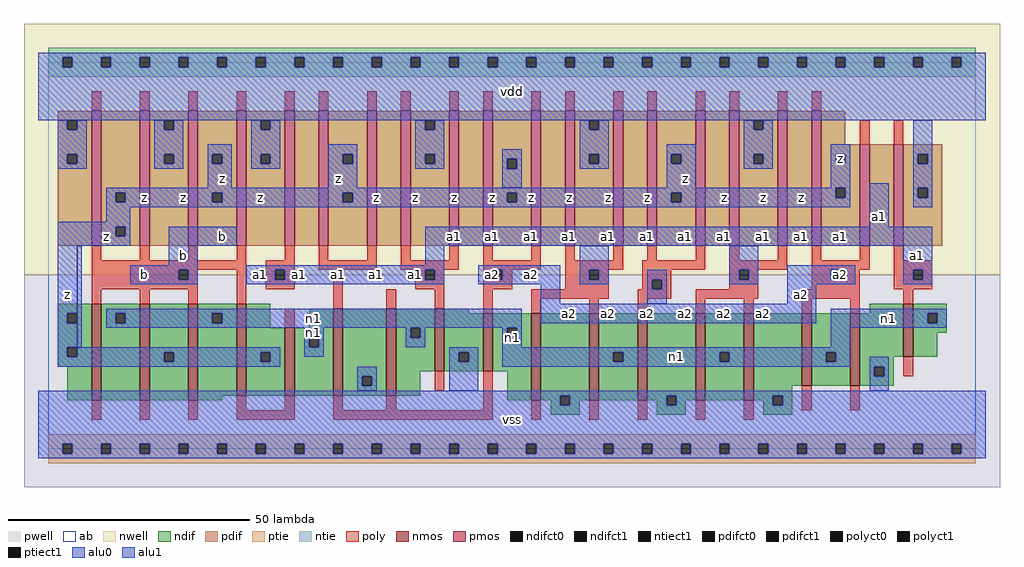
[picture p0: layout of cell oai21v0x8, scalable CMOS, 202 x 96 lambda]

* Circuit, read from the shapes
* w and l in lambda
.subckt oai21v0x8 a1 a2 b n1 vdd vss z
M1 n1 b z vss nfet w=20 l=2 m=3
M2 z b n1 vss nfet w=19 l=2
M3 n1 b z vss nfet w=14 l=2
M4 vss a2 n1 vss nfet w=18 l=2 m=3
M5 vss a1 n1 vss nfet w=13 l=2
M6 n1 a2 vss vss nfet w=12 l=2
M7 vss a1 n1 vss nfet w=18 l=2 m=4
M8 n1 a2 vss vss nfet w=15 l=2 m=2
M9 n1 a1 vss vss nfet w=11 l=2
M10 z b vdd vdd pfet w=28 l=2 m=4
M11 n2 a1 vdd vdd pfet w=28 l=2
M12 z a2 n2 vdd pfet w=28 l=2
M13 n3 a2 z vdd pfet w=28 l=2
M14 vdd a1 n3 vdd pfet w=28 l=2
M15 n4 a1 vdd vdd pfet w=28 l=2
M16 z a2 n4 vdd pfet w=28 l=2
M17 n5 a2 z vdd pfet w=28 l=2
M18 vdd a1 n5 vdd pfet w=28 l=2
M19 n6 a1 vdd vdd pfet w=28 l=2
M20 z a2 n6 vdd pfet w=28 l=2
M21 n7 a2 z vdd pfet w=28 l=2
M22 vdd a1 n7 vdd pfet w=28 l=2
M23 n8 a1 vdd vdd pfet w=28 l=2
M24 z a2 n8 vdd pfet w=28 l=2
M25 n9 a2 z vdd pfet w=21 l=2
M26 vdd a1 n9 vdd pfet w=21 l=2
.ends

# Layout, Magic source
magic
tech scmos
<< ab >>
rect 0 0 192 80
<< nwell >>
rect -5 36 197 88
<< pwell >>
rect -5 -8 197 36
<< poly >>
rect 9 70 11 74
rect 19 70 21 74
rect 29 70 31 74
rect 39 70 41 74
rect 49 70 51 74
rect 56 70 58 74
rect 66 70 68 74
rect 73 70 75 74
rect 83 70 85 74
rect 90 70 92 74
rect 100 70 102 74
rect 107 70 109 74
rect 117 70 119 74
rect 124 70 126 74
rect 134 70 136 74
rect 141 70 143 74
rect 151 70 153 74
rect 158 70 160 74
rect 168 63 170 68
rect 175 63 177 68
rect 9 39 11 42
rect 19 39 21 42
rect 29 39 31 42
rect 39 39 41 42
rect 49 39 51 42
rect 9 37 41 39
rect 9 35 27 37
rect 29 35 31 37
rect 9 33 31 35
rect 9 30 11 33
rect 19 30 21 33
rect 29 30 31 33
rect 39 30 41 37
rect 45 37 51 39
rect 56 39 58 42
rect 66 39 68 42
rect 56 37 68 39
rect 73 39 75 42
rect 83 39 85 42
rect 73 37 85 39
rect 90 39 92 42
rect 100 39 102 42
rect 90 37 102 39
rect 107 39 109 42
rect 117 39 119 42
rect 124 39 126 42
rect 134 39 136 42
rect 107 37 119 39
rect 123 37 136 39
rect 141 39 143 42
rect 151 39 153 42
rect 141 37 153 39
rect 158 39 160 42
rect 168 39 170 42
rect 158 37 170 39
rect 175 39 177 42
rect 175 37 183 39
rect 45 35 47 37
rect 49 35 51 37
rect 45 33 51 35
rect 59 29 61 37
rect 76 35 78 37
rect 80 35 82 37
rect 76 33 82 35
rect 70 29 72 33
rect 80 29 82 33
rect 90 35 92 37
rect 94 35 96 37
rect 90 33 96 35
rect 107 35 112 37
rect 114 35 116 37
rect 107 33 116 35
rect 123 35 129 37
rect 123 33 125 35
rect 127 33 129 35
rect 141 35 143 37
rect 145 35 147 37
rect 141 33 147 35
rect 158 35 162 37
rect 164 35 168 37
rect 158 33 168 35
rect 175 35 179 37
rect 181 35 183 37
rect 175 33 183 35
rect 49 25 51 29
rect 90 28 92 33
rect 100 31 116 33
rect 122 31 129 33
rect 134 31 147 33
rect 156 31 168 33
rect 100 28 102 31
rect 112 28 114 31
rect 122 28 124 31
rect 134 28 136 31
rect 144 28 146 31
rect 156 28 158 31
rect 166 28 168 31
rect 177 30 179 33
rect 80 12 82 16
rect 9 6 11 10
rect 19 6 21 10
rect 29 6 31 10
rect 39 8 41 11
rect 49 8 51 11
rect 39 6 51 8
rect 59 8 61 11
rect 70 8 72 11
rect 90 8 92 16
rect 59 6 92 8
rect 100 6 102 10
rect 112 6 114 10
rect 122 6 124 10
rect 177 15 179 19
rect 134 6 136 10
rect 144 6 146 10
rect 156 8 158 13
rect 166 8 168 13
<< ndif >>
rect 2 28 9 30
rect 2 26 4 28
rect 6 26 9 28
rect 2 21 9 26
rect 2 19 4 21
rect 6 19 9 21
rect 2 17 9 19
rect 4 10 9 17
rect 11 28 19 30
rect 11 26 14 28
rect 16 26 19 28
rect 11 10 19 26
rect 21 20 29 30
rect 21 18 24 20
rect 26 18 29 20
rect 21 10 29 18
rect 31 28 39 30
rect 31 26 34 28
rect 36 26 39 28
rect 31 11 39 26
rect 41 25 46 30
rect 54 25 59 29
rect 41 20 49 25
rect 41 18 44 20
rect 46 18 49 20
rect 41 11 49 18
rect 51 23 59 25
rect 51 21 54 23
rect 56 21 59 23
rect 51 11 59 21
rect 61 15 70 29
rect 61 13 65 15
rect 67 13 70 15
rect 61 11 70 13
rect 72 25 80 29
rect 72 23 75 25
rect 77 23 80 25
rect 72 16 80 23
rect 82 28 87 29
rect 170 28 177 30
rect 82 20 90 28
rect 82 18 85 20
rect 87 18 90 20
rect 82 16 90 18
rect 92 25 100 28
rect 92 23 95 25
rect 97 23 100 25
rect 92 16 100 23
rect 72 11 77 16
rect 31 10 36 11
rect 95 10 100 16
rect 102 11 112 28
rect 102 10 106 11
rect 104 9 106 10
rect 108 10 112 11
rect 114 20 122 28
rect 114 18 117 20
rect 119 18 122 20
rect 114 10 122 18
rect 124 11 134 28
rect 124 10 128 11
rect 108 9 110 10
rect 104 7 110 9
rect 126 9 128 10
rect 130 10 134 11
rect 136 20 144 28
rect 136 18 139 20
rect 141 18 144 20
rect 136 10 144 18
rect 146 13 156 28
rect 158 20 166 28
rect 158 18 161 20
rect 163 18 166 20
rect 158 13 166 18
rect 168 19 177 28
rect 179 28 186 30
rect 179 26 182 28
rect 184 26 186 28
rect 179 24 186 26
rect 179 19 184 24
rect 168 17 175 19
rect 168 15 171 17
rect 173 15 175 17
rect 168 13 175 15
rect 146 11 154 13
rect 146 10 150 11
rect 130 9 132 10
rect 126 7 132 9
rect 148 9 150 10
rect 152 9 154 11
rect 148 7 154 9
<< pdif >>
rect 2 68 9 70
rect 2 66 4 68
rect 6 66 9 68
rect 2 61 9 66
rect 2 59 4 61
rect 6 59 9 61
rect 2 42 9 59
rect 11 53 19 70
rect 11 51 14 53
rect 16 51 19 53
rect 11 46 19 51
rect 11 44 14 46
rect 16 44 19 46
rect 11 42 19 44
rect 21 68 29 70
rect 21 66 24 68
rect 26 66 29 68
rect 21 61 29 66
rect 21 59 24 61
rect 26 59 29 61
rect 21 42 29 59
rect 31 61 39 70
rect 31 59 34 61
rect 36 59 39 61
rect 31 53 39 59
rect 31 51 34 53
rect 36 51 39 53
rect 31 42 39 51
rect 41 68 49 70
rect 41 66 44 68
rect 46 66 49 68
rect 41 61 49 66
rect 41 59 44 61
rect 46 59 49 61
rect 41 42 49 59
rect 51 42 56 70
rect 58 61 66 70
rect 58 59 61 61
rect 63 59 66 61
rect 58 53 66 59
rect 58 51 61 53
rect 63 51 66 53
rect 58 42 66 51
rect 68 42 73 70
rect 75 68 83 70
rect 75 66 78 68
rect 80 66 83 68
rect 75 61 83 66
rect 75 59 78 61
rect 80 59 83 61
rect 75 42 83 59
rect 85 42 90 70
rect 92 60 100 70
rect 92 58 95 60
rect 97 58 100 60
rect 92 53 100 58
rect 92 51 95 53
rect 97 51 100 53
rect 92 42 100 51
rect 102 42 107 70
rect 109 68 117 70
rect 109 66 112 68
rect 114 66 117 68
rect 109 61 117 66
rect 109 59 112 61
rect 114 59 117 61
rect 109 42 117 59
rect 119 42 124 70
rect 126 61 134 70
rect 126 59 129 61
rect 131 59 134 61
rect 126 53 134 59
rect 126 51 129 53
rect 131 51 134 53
rect 126 42 134 51
rect 136 42 141 70
rect 143 68 151 70
rect 143 66 146 68
rect 148 66 151 68
rect 143 61 151 66
rect 143 59 146 61
rect 148 59 151 61
rect 143 42 151 59
rect 153 42 158 70
rect 160 63 165 70
rect 160 61 168 63
rect 160 59 163 61
rect 165 59 168 61
rect 160 54 168 59
rect 160 52 163 54
rect 165 52 168 54
rect 160 42 168 52
rect 170 42 175 63
rect 177 61 185 63
rect 177 59 180 61
rect 182 59 185 61
rect 177 54 185 59
rect 177 52 180 54
rect 182 52 185 54
rect 177 42 185 52
<< alu1 >>
rect -2 81 194 82
rect -2 79 3 81
rect 5 79 11 81
rect 13 79 19 81
rect 21 79 27 81
rect 29 79 35 81
rect 37 79 43 81
rect 45 79 51 81
rect 53 79 59 81
rect 61 79 67 81
rect 69 79 75 81
rect 77 79 83 81
rect 85 79 91 81
rect 93 79 99 81
rect 101 79 107 81
rect 109 79 115 81
rect 117 79 123 81
rect 125 79 131 81
rect 133 79 139 81
rect 141 79 147 81
rect 149 79 155 81
rect 157 79 163 81
rect 165 79 171 81
rect 173 79 179 81
rect 181 79 187 81
rect 189 79 194 81
rect -2 68 194 79
rect 33 61 38 63
rect 33 59 34 61
rect 36 59 38 61
rect 33 54 38 59
rect 58 61 64 63
rect 58 59 61 61
rect 63 59 64 61
rect 58 54 64 59
rect 128 61 134 63
rect 128 59 129 61
rect 131 59 134 61
rect 128 54 134 59
rect 162 61 166 63
rect 162 59 163 61
rect 165 59 166 61
rect 162 54 166 59
rect 12 53 163 54
rect 12 51 14 53
rect 16 51 34 53
rect 36 51 61 53
rect 63 51 95 53
rect 97 51 129 53
rect 131 52 163 53
rect 165 52 166 54
rect 131 51 166 52
rect 12 50 166 51
rect 12 47 17 50
rect 2 46 17 47
rect 170 46 174 55
rect 2 44 14 46
rect 16 44 17 46
rect 2 42 17 44
rect 25 42 39 46
rect 78 42 183 46
rect 2 28 6 42
rect 2 26 4 28
rect 2 21 6 26
rect 25 38 31 42
rect 78 38 82 42
rect 17 37 31 38
rect 17 35 27 37
rect 29 35 31 37
rect 17 34 31 35
rect 41 37 82 38
rect 41 35 47 37
rect 49 35 78 37
rect 80 35 82 37
rect 41 34 82 35
rect 89 37 106 38
rect 89 35 92 37
rect 94 35 106 37
rect 89 34 106 35
rect 102 30 106 34
rect 153 37 167 38
rect 153 35 162 37
rect 164 35 167 37
rect 153 34 167 35
rect 177 37 183 42
rect 177 35 179 37
rect 181 35 183 37
rect 177 34 183 35
rect 153 30 159 34
rect 102 26 159 30
rect 2 19 4 21
rect 6 20 48 21
rect 6 19 24 20
rect 2 18 24 19
rect 26 18 44 20
rect 46 18 48 20
rect 2 17 48 18
rect -2 11 194 12
rect -2 9 106 11
rect 108 9 128 11
rect 130 9 150 11
rect 152 9 194 11
rect -2 1 194 9
rect -2 -1 3 1
rect 5 -1 11 1
rect 13 -1 19 1
rect 21 -1 27 1
rect 29 -1 35 1
rect 37 -1 43 1
rect 45 -1 51 1
rect 53 -1 59 1
rect 61 -1 67 1
rect 69 -1 75 1
rect 77 -1 83 1
rect 85 -1 91 1
rect 93 -1 99 1
rect 101 -1 107 1
rect 109 -1 115 1
rect 117 -1 123 1
rect 125 -1 131 1
rect 133 -1 139 1
rect 141 -1 147 1
rect 149 -1 155 1
rect 157 -1 163 1
rect 165 -1 171 1
rect 173 -1 179 1
rect 181 -1 187 1
rect 189 -1 194 1
rect -2 -2 194 -1
<< ptie >>
rect 0 1 192 3
rect 0 -1 3 1
rect 5 -1 11 1
rect 13 -1 19 1
rect 21 -1 27 1
rect 29 -1 35 1
rect 37 -1 43 1
rect 45 -1 51 1
rect 53 -1 59 1
rect 61 -1 67 1
rect 69 -1 75 1
rect 77 -1 83 1
rect 85 -1 91 1
rect 93 -1 99 1
rect 101 -1 107 1
rect 109 -1 115 1
rect 117 -1 123 1
rect 125 -1 131 1
rect 133 -1 139 1
rect 141 -1 147 1
rect 149 -1 155 1
rect 157 -1 163 1
rect 165 -1 171 1
rect 173 -1 179 1
rect 181 -1 187 1
rect 189 -1 192 1
rect 0 -3 192 -1
<< ntie >>
rect 0 81 192 83
rect 0 79 3 81
rect 5 79 11 81
rect 13 79 19 81
rect 21 79 27 81
rect 29 79 35 81
rect 37 79 43 81
rect 45 79 51 81
rect 53 79 59 81
rect 61 79 67 81
rect 69 79 75 81
rect 77 79 83 81
rect 85 79 91 81
rect 93 79 99 81
rect 101 79 107 81
rect 109 79 115 81
rect 117 79 123 81
rect 125 79 131 81
rect 133 79 139 81
rect 141 79 147 81
rect 149 79 155 81
rect 157 79 163 81
rect 165 79 171 81
rect 173 79 179 81
rect 181 79 187 81
rect 189 79 192 81
rect 0 77 192 79
<< nmos >>
rect 9 10 11 30
rect 19 10 21 30
rect 29 10 31 30
rect 39 11 41 30
rect 49 11 51 25
rect 59 11 61 29
rect 70 11 72 29
rect 80 16 82 29
rect 90 16 92 28
rect 100 10 102 28
rect 112 10 114 28
rect 122 10 124 28
rect 134 10 136 28
rect 144 10 146 28
rect 156 13 158 28
rect 166 13 168 28
rect 177 19 179 30
<< pmos >>
rect 9 42 11 70
rect 19 42 21 70
rect 29 42 31 70
rect 39 42 41 70
rect 49 42 51 70
rect 56 42 58 70
rect 66 42 68 70
rect 73 42 75 70
rect 83 42 85 70
rect 90 42 92 70
rect 100 42 102 70
rect 107 42 109 70
rect 117 42 119 70
rect 124 42 126 70
rect 134 42 136 70
rect 141 42 143 70
rect 151 42 153 70
rect 158 42 160 70
rect 168 42 170 63
rect 175 42 177 63
<< polyct0 >>
rect 112 35 114 37
rect 125 33 127 35
rect 143 35 145 37
<< polyct1 >>
rect 27 35 29 37
rect 47 35 49 37
rect 78 35 80 37
rect 92 35 94 37
rect 162 35 164 37
rect 179 35 181 37
<< ndifct0 >>
rect 14 26 16 28
rect 34 26 36 28
rect 54 21 56 23
rect 65 13 67 15
rect 75 23 77 25
rect 85 18 87 20
rect 95 23 97 25
rect 117 18 119 20
rect 139 18 141 20
rect 161 18 163 20
rect 182 26 184 28
rect 171 15 173 17
<< ndifct1 >>
rect 4 26 6 28
rect 4 19 6 21
rect 24 18 26 20
rect 44 18 46 20
rect 106 9 108 11
rect 128 9 130 11
rect 150 9 152 11
<< ntiect1 >>
rect 3 79 5 81
rect 11 79 13 81
rect 19 79 21 81
rect 27 79 29 81
rect 35 79 37 81
rect 43 79 45 81
rect 51 79 53 81
rect 59 79 61 81
rect 67 79 69 81
rect 75 79 77 81
rect 83 79 85 81
rect 91 79 93 81
rect 99 79 101 81
rect 107 79 109 81
rect 115 79 117 81
rect 123 79 125 81
rect 131 79 133 81
rect 139 79 141 81
rect 147 79 149 81
rect 155 79 157 81
rect 163 79 165 81
rect 171 79 173 81
rect 179 79 181 81
rect 187 79 189 81
<< ptiect1 >>
rect 3 -1 5 1
rect 11 -1 13 1
rect 19 -1 21 1
rect 27 -1 29 1
rect 35 -1 37 1
rect 43 -1 45 1
rect 51 -1 53 1
rect 59 -1 61 1
rect 67 -1 69 1
rect 75 -1 77 1
rect 83 -1 85 1
rect 91 -1 93 1
rect 99 -1 101 1
rect 107 -1 109 1
rect 115 -1 117 1
rect 123 -1 125 1
rect 131 -1 133 1
rect 139 -1 141 1
rect 147 -1 149 1
rect 155 -1 157 1
rect 163 -1 165 1
rect 171 -1 173 1
rect 179 -1 181 1
rect 187 -1 189 1
<< pdifct0 >>
rect 4 66 6 68
rect 4 59 6 61
rect 24 66 26 68
rect 24 59 26 61
rect 44 66 46 68
rect 44 59 46 61
rect 78 66 80 68
rect 78 59 80 61
rect 95 58 97 60
rect 112 66 114 68
rect 112 59 114 61
rect 146 66 148 68
rect 146 59 148 61
rect 180 59 182 61
rect 180 52 182 54
<< pdifct1 >>
rect 14 51 16 53
rect 14 44 16 46
rect 34 59 36 61
rect 34 51 36 53
rect 61 59 63 61
rect 61 51 63 53
rect 95 51 97 53
rect 129 59 131 61
rect 129 51 131 53
rect 163 59 165 61
rect 163 52 165 54
<< alu0 >>
rect 2 66 4 68
rect 6 66 8 68
rect 2 61 8 66
rect 2 59 4 61
rect 6 59 8 61
rect 2 58 8 59
rect 22 66 24 68
rect 26 66 28 68
rect 22 61 28 66
rect 42 66 44 68
rect 46 66 48 68
rect 22 59 24 61
rect 26 59 28 61
rect 22 58 28 59
rect 42 61 48 66
rect 76 66 78 68
rect 80 66 82 68
rect 42 59 44 61
rect 46 59 48 61
rect 42 58 48 59
rect 76 61 82 66
rect 110 66 112 68
rect 114 66 116 68
rect 76 59 78 61
rect 80 59 82 61
rect 76 58 82 59
rect 94 60 98 62
rect 94 58 95 60
rect 97 58 98 60
rect 110 61 116 66
rect 144 66 146 68
rect 148 66 150 68
rect 110 59 112 61
rect 114 59 116 61
rect 110 58 116 59
rect 94 54 98 58
rect 144 61 150 66
rect 144 59 146 61
rect 148 59 150 61
rect 144 58 150 59
rect 179 61 183 68
rect 179 59 180 61
rect 182 59 183 61
rect 179 54 183 59
rect 179 52 180 54
rect 182 52 183 54
rect 179 50 183 52
rect 6 21 7 42
rect 110 37 116 42
rect 141 37 147 42
rect 110 35 112 37
rect 114 35 116 37
rect 110 34 116 35
rect 124 35 128 37
rect 124 33 125 35
rect 127 33 128 35
rect 141 35 143 37
rect 145 35 147 37
rect 141 34 147 35
rect 124 30 128 33
rect 12 28 98 29
rect 12 26 14 28
rect 16 26 34 28
rect 36 26 98 28
rect 162 28 186 29
rect 162 26 182 28
rect 184 26 186 28
rect 12 25 98 26
rect 53 23 57 25
rect 53 21 54 23
rect 56 21 57 23
rect 74 23 75 25
rect 77 23 78 25
rect 74 21 78 23
rect 94 23 95 25
rect 97 23 98 25
rect 94 21 98 23
rect 162 25 186 26
rect 162 21 166 25
rect 53 19 57 21
rect 83 20 89 21
rect 83 18 85 20
rect 87 18 89 20
rect 64 15 68 17
rect 64 13 65 15
rect 67 13 68 15
rect 64 12 68 13
rect 83 12 89 18
rect 94 20 166 21
rect 94 18 117 20
rect 119 18 139 20
rect 141 18 161 20
rect 163 18 166 20
rect 94 17 166 18
rect 170 17 174 19
rect 170 15 171 17
rect 173 15 174 17
rect 170 12 174 15
<< labels >>
rlabel alu0 55 24 55 24 6 n1
rlabel alu0 55 27 55 27 6 n1
rlabel alu0 96 23 96 23 6 n1
rlabel alu0 130 19 130 19 6 n1
rlabel alu0 174 27 174 27 6 n1
rlabel alu1 4 32 4 32 6 z
rlabel alu1 28 40 28 40 6 b
rlabel alu1 12 44 12 44 6 z
rlabel alu1 20 36 20 36 6 b
rlabel alu1 20 52 20 52 6 z
rlabel alu1 28 52 28 52 6 z
rlabel alu1 36 44 36 44 6 b
rlabel alu1 68 36 68 36 6 a1
rlabel alu1 60 36 60 36 6 a1
rlabel alu1 52 36 52 36 6 a1
rlabel alu1 44 36 44 36 6 a1
rlabel alu1 44 52 44 52 6 z
rlabel alu1 68 52 68 52 6 z
rlabel alu1 36 56 36 56 6 z
rlabel alu1 60 56 60 56 6 z
rlabel alu1 96 6 96 6 6 vss
rlabel alu1 108 28 108 28 6 a2
rlabel alu1 76 36 76 36 6 a1
rlabel alu1 100 44 100 44 6 a1
rlabel alu1 108 44 108 44 6 a1
rlabel alu1 100 36 100 36 6 a2
rlabel alu1 84 44 84 44 6 a1
rlabel alu1 92 44 92 44 6 a1
rlabel alu1 92 36 92 36 6 a2
rlabel alu1 84 52 84 52 6 z
rlabel alu1 92 52 92 52 6 z
rlabel alu1 100 52 100 52 6 z
rlabel alu1 108 52 108 52 6 z
rlabel alu1 76 52 76 52 6 z
rlabel alu1 96 74 96 74 6 vdd
rlabel alu1 116 28 116 28 6 a2
rlabel alu1 132 28 132 28 6 a2
rlabel alu1 140 28 140 28 6 a2
rlabel alu1 148 28 148 28 6 a2
rlabel alu1 124 28 124 28 6 a2
rlabel alu1 116 44 116 44 6 a1
rlabel alu1 132 44 132 44 6 a1
rlabel alu1 140 44 140 44 6 a1
rlabel alu1 148 44 148 44 6 a1
rlabel alu1 124 44 124 44 6 a1
rlabel alu1 124 52 124 52 6 z
rlabel alu1 140 52 140 52 6 z
rlabel alu1 148 52 148 52 6 z
rlabel alu1 116 52 116 52 6 z
rlabel alu1 132 56 132 56 6 z
rlabel alu1 156 32 156 32 6 a2
rlabel alu1 156 44 156 44 6 a1
rlabel alu1 164 44 164 44 6 a1
rlabel alu1 180 40 180 40 6 a1
rlabel alu1 164 36 164 36 6 a2
rlabel alu1 172 48 172 48 6 a1
rlabel alu1 156 52 156 52 6 z
rlabel pdifct1 164 60 164 60 6 z
<< end >>
